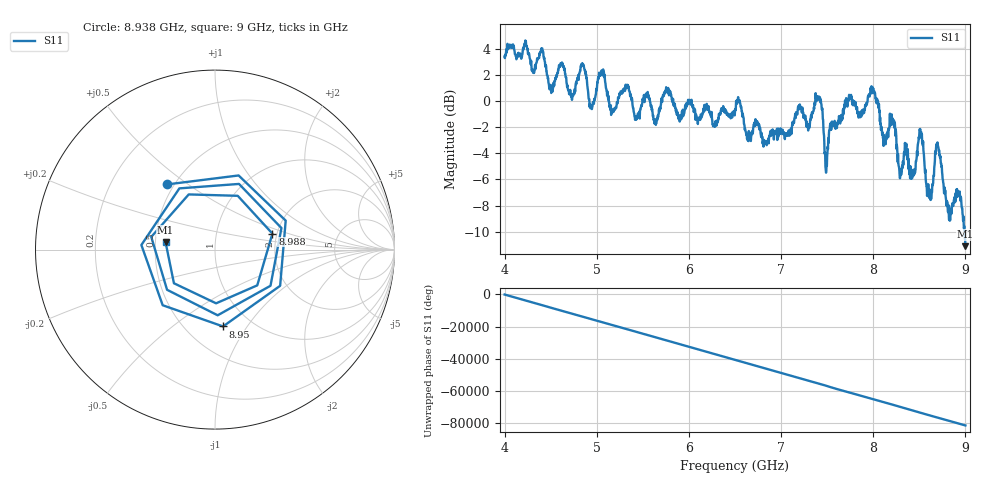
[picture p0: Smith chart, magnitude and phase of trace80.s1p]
! Created with skrf 1.8.0 (http://scikit-rf.org).
# Hz S RI R 50.0
!freq ReS11 ImS11
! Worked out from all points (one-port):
!   1601 points, 4 GHz to 9 GHz, reference 50 ohm
!   lowest |S11| = -11.1 dB at 9 GHz (marker M1), VSWR 1.77, Z = 28.3 + j2.47 ohm
!   |S11| at or under -10 dB: 8.989981 GHz to end of sweep
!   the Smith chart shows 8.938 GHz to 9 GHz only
!   S11 on the Smith chart (normalised r, x): 8.938 GHz: 0.46, +0.42; 8.95 GHz: 0.74, -0.78; 8.988 GHz: 1.89, +0.38; 9 GHz: 0.57, +0.05
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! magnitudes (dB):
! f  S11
! 4 GHz  3.4
! 4.403 GHz  4.1
! 4.506 GHz  0.6
! 4.625 GHz  2.8
! 4.731 GHz  0.1
! 4.853 GHz  2.7
! 4.944 GHz  -0.4
! 5.05 GHz  2.2
! 5.162 GHz  -0.8
! 5.25 GHz  0.5
! 5.875 GHz  -0.8
! 6.5 GHz  -0.8
! 6.825 GHz  -3.0
! 7.125 GHz  -1.6
! 7.4 GHz  0.3
! 7.494 GHz  -4.8
! 7.75 GHz  0.4
! 7.997 GHz  1.0
! 8.109 GHz  -2.7
! 8.375 GHz  -3.7
! 8.516 GHz  -2.5
! 8.606 GHz  -7.4
! 8.697 GHz  -3.2
! 8.816 GHz  -8.0
! 8.938 GHz  -6.9
! 8.95 GHz  -7.3
! 8.988 GHz  -9.6
! 9 GHz  -11.1
